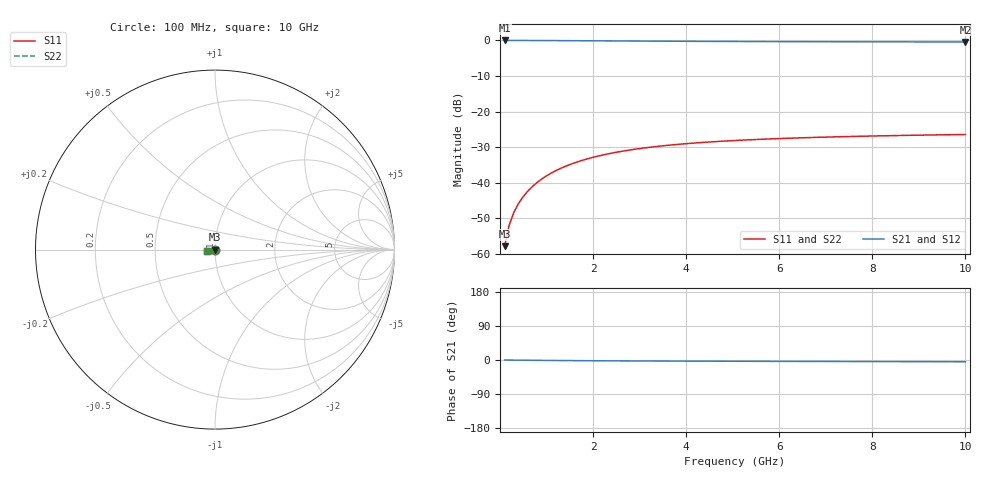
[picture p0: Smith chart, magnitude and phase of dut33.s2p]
! Touchstone file exported from HFSS 2024.1.0
!  File:  C:/UserFiles/LocalFiles/RDL_TSV_Batchsim/temp_TSV1_33_1778747821.aedt
!  Generated:  04:43:42 PM May 14, 2026
!  Design:  TSV1
!  Project:  temp_TSV1_33_1778747821
!  Setup:  Setup1
!  Solution:  Sweep
! Variables:
!  dtsv = 11.54um
!  hbump = 3um
!  htsv = 72.01um
!  lrdl = 252.1521522um
!  p = 40
!  p1 = 46.02um
!  t = 500um
!  trdl = 3um
!  wrdl = 24.89489489um
# GHz S MA R 50.000000
! Terminal data exported
! Port[1] = TSV22_T1
! Port[2] = TSV22_T2
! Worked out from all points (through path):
!   100 points, 100 MHz to 10 GHz, reference 50 ohm
!   highest |S21| = 0.00 dB at 100 MHz (marker M1); lowest = -0.4 dB at 10 GHz (marker M2)
!   lowest |S11| = -57.8 dB at 100 MHz (marker M3), VSWR 1.00, Z = 50 - j0.129 ohm
!   |S11| at or under -10 dB: start of sweep to end of sweep
!   |S22| runs from -57.8 to -26.4 dB; largest |S21 - S12| = 5.2e-15
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0.1  0.001291 -87.0  0.9999 -0.1  0.9999 -0.1  0.001291 -87.0
! Gamma 0 0 0 0
! Port Impedance 50 0 50 0
0.2  0.002576 -90.8  0.9997 -0.2  0.9997 -0.2  0.002576 -90.8
0.3  0.003862 -93.1  0.9995 -0.3  0.9995 -0.3  0.003862 -93.1
0.4  0.005144 -95.0  0.9993 -0.5  0.9993 -0.5  0.005144 -95.0
0.5  0.006418 -96.8  0.9989 -0.6  0.9989 -0.6  0.006418 -96.8
0.6  0.007678 -98.6  0.9985 -0.7  0.9985 -0.7  0.007678 -98.6
0.7  0.008923 -100.3  0.9981 -0.8  0.9981 -0.8  0.008923 -100.3
0.8  0.01015 -102.0  0.9975 -0.9  0.9975 -0.9  0.01015 -102.0
0.9  0.01135 -103.6  0.997 -1.0  0.997 -1.0  0.01135 -103.6
1.1  0.01369 -106.8  0.9957 -1.2  0.9957 -1.2  0.01369 -106.8
1.4  0.017 -111.3  0.9935 -1.5  0.9935 -1.5  0.017 -111.3
1.6  0.01906 -114.1  0.9919 -1.7  0.9919 -1.7  0.01906 -114.1
1.8  0.02101 -116.8  0.9902 -1.8  0.9902 -1.8  0.02101 -116.8
2.1  0.0237 -120.7  0.9877 -2.0  0.9877 -2.0  0.0237 -120.7
2.5  0.02689 -125.4  0.9842 -2.3  0.9842 -2.3  0.02689 -125.4
2.9  0.02965 -129.6  0.9809 -2.5  0.9809 -2.5  0.02965 -129.6
3.4  0.03259 -134.4  0.9771 -2.7  0.9771 -2.7  0.03259 -134.4
4.2  0.03633 -140.9  0.9717 -3.0  0.9717 -3.0  0.03633 -140.9
5.1  0.03949 -146.9  0.9668 -3.3  0.9668 -3.3  0.03949 -146.9
6.7  0.04336 -155.2  0.9603 -3.8  0.9603 -3.8  0.04336 -155.2
8.4  0.04602 -162.0  0.9557 -4.2  0.9557 -4.2  0.04602 -162.0
10  0.04777 -167.2  0.9526 -4.7  0.9526 -4.7  0.04777 -167.2
